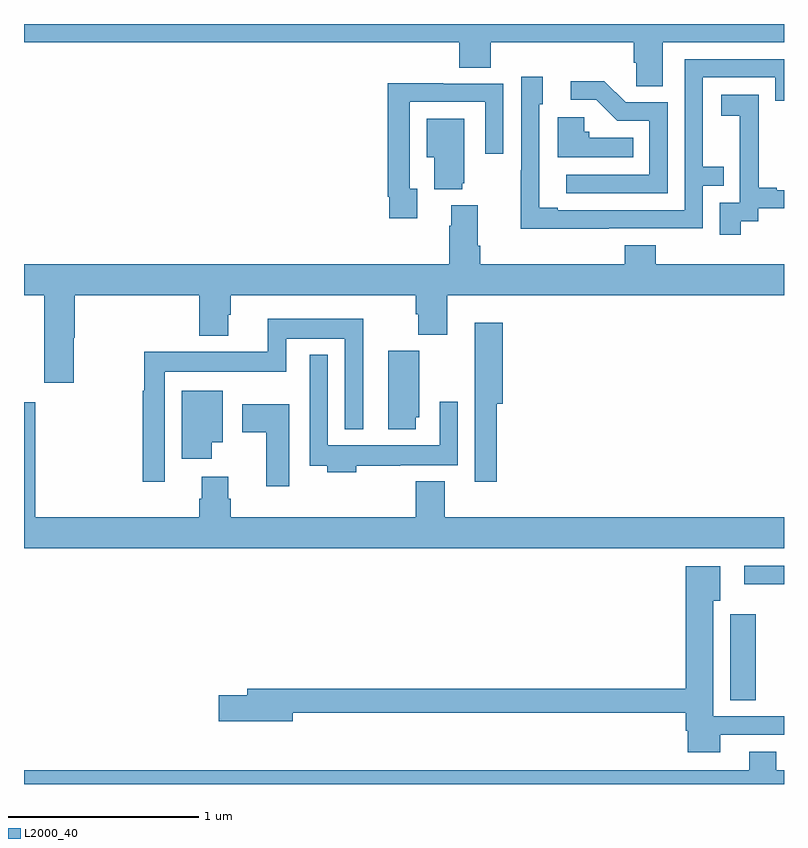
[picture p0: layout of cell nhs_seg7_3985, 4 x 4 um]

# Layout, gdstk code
import gdstk
lib = gdstk.Library(unit=1e-6, precision=1e-09)
def R(c, l, rs):  # rectangles x0, y0, x1, y1
    for r in rs: c.add(gdstk.rectangle(r[:2], r[2:], *l))
def P(c, l, *ps):  # polygons
    for p in ps: c.add(gdstk.Polygon(p, *l))
L2000_40 = (2000, 40)

nhs_seg7_3985 = lib.new_cell('nhs_seg7_3985')
R(nhs_seg7_3985, L2000_40, [(366.716,1042.441,366.85,1042.894), (366.792,1043.052,367,1043.148)])
P(nhs_seg7_3985, L2000_40, [(366.361,1045.904),(367,1045.904),(367,1046),(363,1046),(363,1045.904),(365.291,1045.904),(365.291,1045.771),(365.456,1045.771),(365.456,1045.904),(366.209,1045.904),(366.209,1045.795),(366.222,1045.795),(366.222,1045.672),(366.361,1045.672)],
  [(366.077,1044.924),(366.573,1044.924),(366.573,1045.149),(366.683,1045.149),(366.683,1045.25),(366.573,1045.25),(366.573,1045.719),(366.954,1045.719),(366.954,1045.596),(367,1045.596),(367,1045.815),(366.477,1045.815),(366.477,1045.02),(365.809,1045.02),(365.809,1045.033),(365.712,1045.033),(365.712,1045.578),(365.731,1045.578),(365.731,1045.723),(365.616,1045.723),(365.616,1045.229),(365.614,1045.229),(365.614,1044.923),(366.077,1044.923)],
  [(366.387,1045.587),(366.168,1045.587),(366.055,1045.7),(365.877,1045.7),(365.877,1045.602),(366.011,1045.602),(366.122,1045.491),(366.291,1045.491),(366.291,1045.206),(365.853,1045.206),(365.853,1045.11),(366.387,1045.11)],
  [(365.071,1045.134),(365.031,1045.134),(365.031,1045.59),(365.427,1045.59),(365.427,1045.317),(365.523,1045.317),(365.523,1045.686),(365.207,1045.686),(365.207,1045.688),(364.915,1045.688),(364.915,1045.09),(364.923,1045.09),(364.923,1044.978),(365.071,1044.978)],
  [(366.772,1044.961),(366.864,1044.961),(366.864,1045.029),(367,1045.029),(367,1045.125),(366.961,1045.125),(366.961,1045.138),(366.866,1045.138),(366.866,1045.421),(366.867,1045.421),(366.867,1045.627),(366.669,1045.627),(366.669,1045.517),(366.767,1045.517),(366.767,1045.289),(366.768,1045.289),(366.768,1045.059),(366.663,1045.059),(366.663,1044.891),(366.772,1044.891)],
  [(366.206,1045.402),(365.976,1045.402),(365.976,1045.434),(365.949,1045.434),(365.949,1045.51),(365.81,1045.51),(365.81,1045.298),(366.206,1045.298)],
  [(365.306,1045.161),(365.317,1045.161),(365.317,1045.501),(365.12,1045.501),(365.12,1045.298),(365.159,1045.298),(365.159,1045.13),(365.306,1045.13)],
  [(363.261,1044.35),(363.266,1044.35),(363.266,1044.572),(363.923,1044.572),(363.923,1044.359),(364.075,1044.359),(364.075,1044.471),(364.088,1044.471),(364.088,1044.572),(365.063,1044.572),(365.063,1044.473),(365.075,1044.473),(365.075,1044.364),(365.228,1044.364),(365.228,1044.572),(367,1044.572),(367,1044.736),(366.326,1044.736),(366.326,1044.835),(366.161,1044.835),(366.161,1044.736),(365.402,1044.736),(365.402,1044.832),(365.389,1044.832),(365.389,1045.045),(365.249,1045.045),(365.249,1044.938),(365.237,1044.938),(365.237,1044.736),(363,1044.736),(363,1044.572),(363.106,1044.572),(363.106,1044.111),(363.261,1044.111)],
  [(363.741,1044.17),(364.38,1044.17),(364.38,1044.344),(364.689,1044.344),(364.689,1043.867),(364.786,1043.867),(364.786,1044.448),(364.283,1044.448),(364.283,1044.274),(363.633,1044.274),(363.633,1044.07),(363.625,1044.07),(363.625,1043.592),(363.741,1043.592)],
  [(365.489,1044.002),(365.519,1044.002),(365.519,1044.427),(365.372,1044.427),(365.372,1044.106),(365.373,1044.106),(365.373,1043.592),(365.489,1043.592)],
  [(365.062,1043.931),(365.08,1043.931),(365.08,1044.279),(364.916,1044.279),(364.916,1043.868),(365.062,1043.868)],
  [(364.748,1043.676),(364.979,1043.676),(364.979,1043.678),(365.283,1043.678),(365.283,1044.013),(365.187,1044.013),(365.187,1043.782),(364.599,1043.782),(364.599,1044.259),(364.503,1044.259),(364.503,1043.676),(364.595,1043.676),(364.595,1043.642),(364.748,1043.642)],
  [(363.988,1043.798),(364.045,1043.798),(364.045,1044.07),(363.83,1044.07),(363.83,1043.712),(363.988,1043.712)],
  [(367,1043.404),(365.215,1043.404),(365.215,1043.593),(365.063,1043.593),(365.063,1043.404),(364.088,1043.404),(364.088,1043.502),(364.075,1043.502),(364.075,1043.617),(363.935,1043.617),(363.935,1043.502),(363.923,1043.502),(363.923,1043.404),(363.058,1043.404),(363.058,1044.01),(363,1044.01),(363,1043.24),(367,1043.24)],
  [(364.396,1043.998),(364.149,1043.998),(364.149,1043.851),(364.274,1043.851),(364.274,1043.568),(364.396,1043.568)],
  [(366.664,1042.26),(367,1042.26),(367,1042.356),(366.628,1042.356),(366.628,1042.964),(366.664,1042.964),(366.664,1043.146),(366.482,1043.146),(366.482,1042.502),(364.175,1042.502),(364.175,1042.466),(364.026,1042.466),(364.026,1042.331),(364.414,1042.331),(364.414,1042.374),(366.482,1042.374),(366.482,1042.28),(366.494,1042.28),(366.494,1042.166),(366.664,1042.166)],
  [(367,1042.072),(366.958,1042.072),(366.958,1042.171),(366.818,1042.171),(366.818,1042.072),(363,1042.072),(363,1042),(367,1042)])

lib.write_gds('nhs_seg7_3985.gds')
